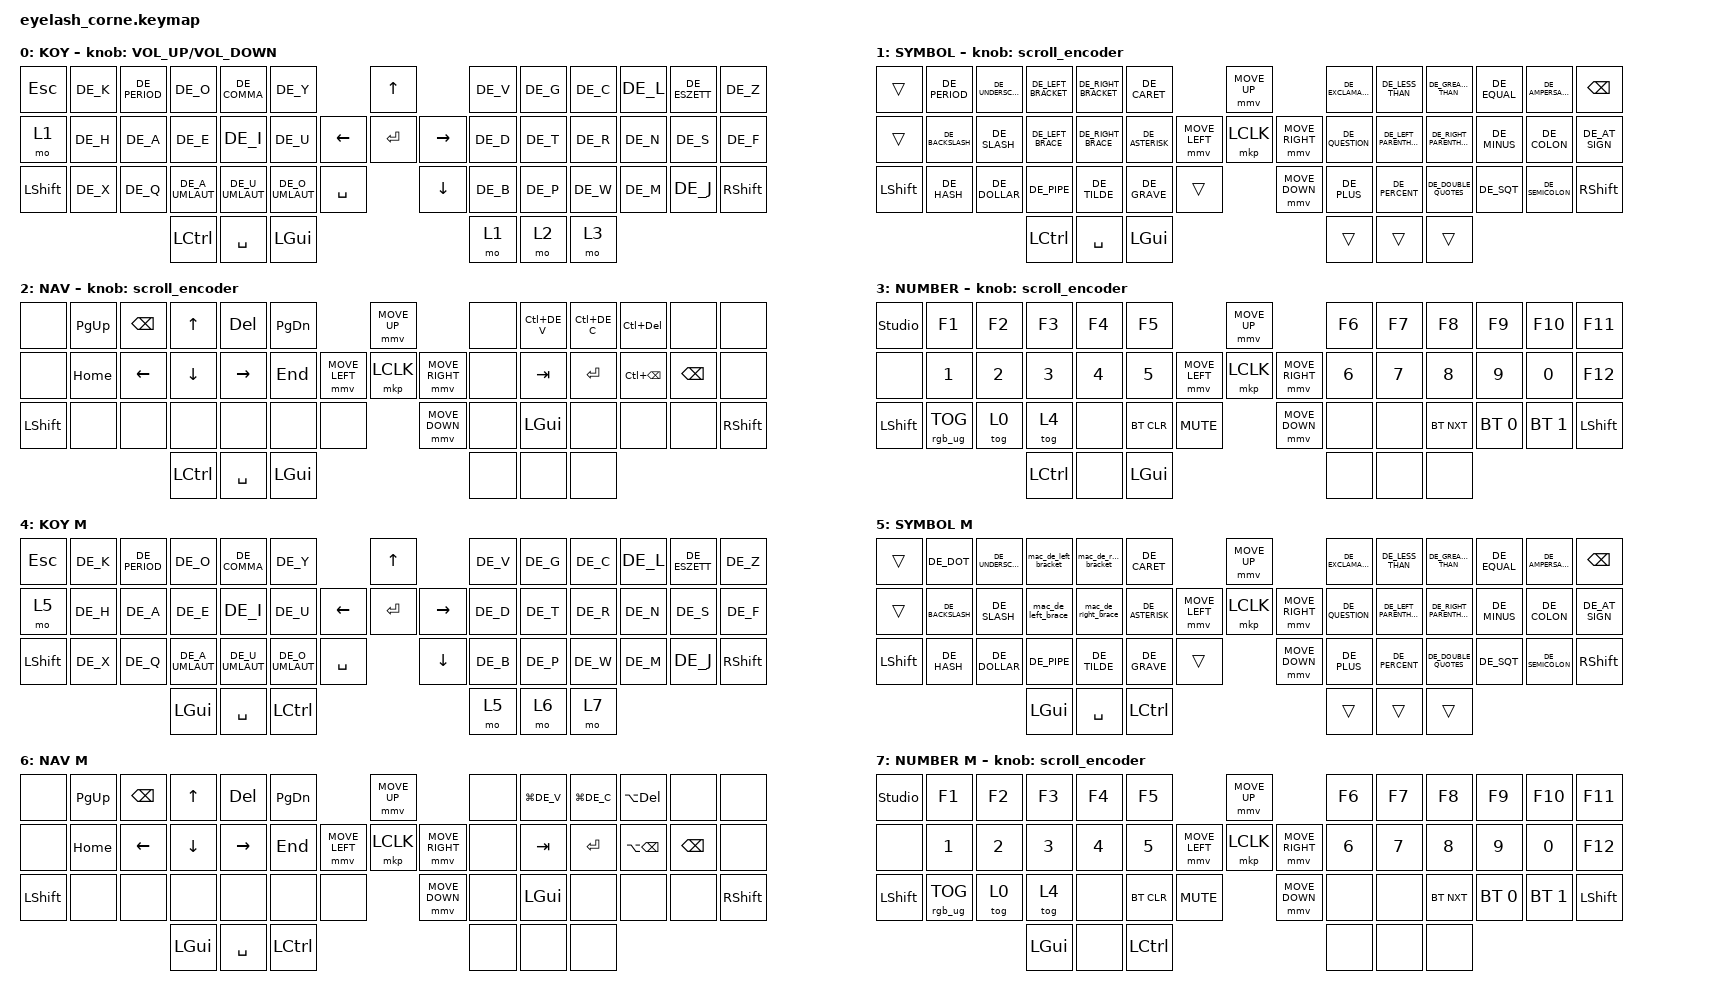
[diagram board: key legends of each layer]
#define ZMK_POINTING_DEFAULT_MOVE_VAL 1200  // 600
#define ZMK_POINTING_DEFAULT_SCRL_VAL 25   // 10

#include <input/processors.dtsi>
#include <zephyr/dt-bindings/input/input-event-codes.h>
#include <behaviors.dtsi>
#include <dt-bindings/zmk/bt.h>
#include <dt-bindings/zmk/keys.h>
#include <dt-bindings/zmk/pointing.h>
#include <dt-bindings/zmk/rgb.h>
#include "keys_de.h"

&mmv_input_listener { input-processors = <&zip_xy_scaler 2 1>; };

&msc_input_listener { input-processors = <&zip_scroll_scaler 2 1>; };

&msc {
    acceleration-exponent = <1>;      // 0
    time-to-max-speed-ms = <100>;       // 300
    delay-ms = <0>;                   // 0
};

&mmv {
    time-to-max-speed-ms = <500>;
    acceleration-exponent = <1>;
    trigger-period-ms = <16>;
};

/ {
    behaviors {
        td0: td0 {
            compatible = "zmk,behavior-tap-dance";
            display-name = "Shift/Caps Lock Tap Dance";
            #binding-cells = <0>;
            bindings = <&kp LEFT_SHIFT>, <&kp CAPS>;
        };
    };

    rgb_encoder: rgb_encoder {
        compatible = "zmk,behavior-sensor-rotate";
        #sensor-binding-cells = <0>;
        bindings = <&rgb_ug RGB_BRI>, <&rgb_ug RGB_BRD>;
    };

    scroll_encoder: scroll_encoder {
        compatible = "zmk,behavior-sensor-rotate";
        #sensor-binding-cells = <0>;
        bindings = <&msc SCRL_DOWN>, <&msc SCRL_UP>;

        tap-ms = <100>;
    };

    macros {
        ctrl_del: ctrl_del {
            compatible = "zmk,behavior-macro";
            #binding-cells = <0>;

            // Assuming you want a single Ctrl+Delete action

            bindings = <&macro_tap>, <&kp LEFT_CONTROL &kp DELETE>;

            label = "CTRL_DEL";
        };

        ctrl_bsp: ctrl_bsp {
            compatible = "zmk,behavior-macro";
            #binding-cells = <0>;
            bindings = <&macro_tap>, <&kp LEFT_CONTROL &kp BACKSPACE>;

            label = "CTRL_BSP";
        };

        ctrl_c: ctrl_c {
            compatible = "zmk,behavior-macro";
            #binding-cells = <0>;
            bindings = <&macro_tap>, <&kp LEFT_CONTROL &kp C>;

            label = "CTRL_C";
        };

        ctrl_v: ctrl_v {
            compatible = "zmk,behavior-macro";
            #binding-cells = <0>;
            bindings = <&macro_tap>, <&kp LEFT_CONTROL &kp V>;

            label = "CTRL_V";
        };

        mac_de_left_bracket: mac_de_left_bracket {
            compatible = "zmk,behavior-macro";
            #binding-cells = <0>;
            bindings
                = <&macro_press &kp RIGHT_ALT &kp N8>
                , <&macro_pause_for_release>
                , <&macro_release &kp N8 &kp RIGHT_ALT>
                ;
        };

        mac_de_right_bracket: mac_de_right_bracket {
            compatible = "zmk,behavior-macro";
            #binding-cells = <0>;
            bindings
                = <&macro_press &kp RIGHT_ALT &kp N9>
                , <&macro_pause_for_release>
                , <&macro_release &kp N9 &kp RIGHT_ALT>
                ;
        };

        mac_de_left_brace: mac_de_left_brace {
            compatible = "zmk,behavior-macro";
            #binding-cells = <0>;
            bindings
                = <&macro_press &kp RIGHT_ALT &kp N7>
                , <&macro_pause_for_release>
                , <&macro_release &kp N7 &kp RIGHT_ALT>
                ;
        };

        mac_de_right_brace: mac_de_right_brace {
            compatible = "zmk,behavior-macro";
            #binding-cells = <0>;
            bindings
                = <&macro_press &kp RIGHT_ALT &kp N0>
                , <&macro_pause_for_release>
                , <&macro_release &kp N0 &kp RIGHT_ALT>
                ;
        };
    };

    keymap {
        compatible = "zmk,keymap";

        default_layer {
            display-name = "KOY";
            bindings = <
&kp ESC         &kp DE_K  &kp DE_PERIOD  &kp DE_O          &kp DE_COMMA     &kp DE_Y                                &kp UP                &kp DE_V  &kp DE_G  &kp DE_C  &kp DE_L  &kp DE_ESZETT  &kp DE_Z
&mo 1           &kp DE_H  &kp DE_A       &kp DE_E          &kp DE_I         &kp DE_U                      &kp LEFT  &kp ENTER  &kp RIGHT  &kp DE_D  &kp DE_T  &kp DE_R  &kp DE_N  &kp DE_S       &kp DE_F
&kp LEFT_SHIFT  &kp DE_X  &kp DE_Q       &kp DE_A_UMLAUT   &kp DE_U_UMLAUT  &kp DE_O_UMLAUT  &kp SPACE              &kp DOWN              &kp DE_B  &kp DE_P  &kp DE_W  &kp DE_M  &kp DE_J       &kp RIGHT_SHIFT
                                         &kp LEFT_CONTROL  &kp SPACE        &kp LEFT_GUI                                                  &mo 1     &mo 2     &mo 3
            >;

            sensor-bindings = <&inc_dec_kp C_VOLUME_UP C_VOLUME_DOWN>;
        };

        raise_layer {
            display-name = "SYMBOL";
            bindings = <
&trans          &kp DE_PERIOD     &kp DE_UNDERSCORE  &kp DE_LEFT_BRACKET  &kp DE_RIGHT_BRACKET  &kp DE_CARET                               &mmv MOVE_UP                     &kp DE_EXCLAMATION  &kp DE_LESS_THAN         &kp DE_GREATER_THAN       &kp DE_EQUAL  &kp DE_AMPERSAND  &kp BSPC
&trans          &kp DE_BACKSLASH  &kp DE_SLASH       &kp DE_LEFT_BRACE    &kp DE_RIGHT_BRACE    &kp DE_ASTERISK            &mmv MOVE_LEFT  &mkp LCLK       &mmv MOVE_RIGHT  &kp DE_QUESTION     &kp DE_LEFT_PARENTHESIS  &kp DE_RIGHT_PARENTHESIS  &kp DE_MINUS  &kp DE_COLON      &kp DE_AT_SIGN
&kp LEFT_SHIFT  &kp DE_HASH       &kp DE_DOLLAR      &kp DE_PIPE          &kp DE_TILDE          &kp DE_GRAVE     &trans                    &mmv MOVE_DOWN                   &kp DE_PLUS         &kp DE_PERCENT           &kp DE_DOUBLE_QUOTES      &kp DE_SQT    &kp DE_SEMICOLON  &kp RIGHT_SHIFT
                                                     &kp LCTRL            &kp SPACE             &kp LEFT_GUI                                                                &trans              &trans                   &trans
            >;

            sensor-bindings = <&scroll_encoder>;
        };

        lower_layer {
            display-name = "NAV";
            bindings = <
&none           &kp PAGE_UP  &kp BSPC  &kp UP            &kp DELETE  &kp PAGE_DOWN                           &mmv MOVE_UP                     &none  &kp LC(DE_V)  &kp LC(DE_C)  &kp LC(DELETE)  &none          &none
&none           &kp HOME     &kp LEFT  &kp DOWN          &kp RIGHT   &kp END                 &mmv MOVE_LEFT  &mkp LCLK       &mmv MOVE_RIGHT  &none  &kp TAB       &kp ENTER     &kp LC(BSPC)    &kp BACKSPACE  &none
&kp LEFT_SHIFT  &none        &none     &none             &none       &none          &none                    &mmv MOVE_DOWN                   &none  &kp LEFT_GUI  &none         &none           &none          &kp RIGHT_SHIFT
                                       &kp LEFT_CONTROL  &kp SPACE   &kp LEFT_GUI                                                             &none  &none         &none
            >;

            sensor-bindings = <&scroll_encoder>;
        };

        layer_3 {
            display-name = "NUMBER";
            bindings = <
&studio_unlock  &kp F1           &kp F2  &kp F3            &kp F4  &kp F5                                      &mmv MOVE_UP                     &kp F6  &kp F7  &kp F8      &kp F9        &kp F10       &kp F11
&none           &kp N1           &kp N2  &kp N3            &kp N4  &kp N5                      &mmv MOVE_LEFT  &mkp LCLK       &mmv MOVE_RIGHT  &kp N6  &kp N7  &kp N8      &kp N9        &kp N0        &kp F12
&kp LEFT_SHIFT  &rgb_ug RGB_TOG  &tog 0  &tog 4            &none   &bt BT_CLR    &kp C_MUTE                    &mmv MOVE_DOWN                   &none   &none   &bt BT_NXT  &bt BT_SEL 0  &bt BT_SEL 1  &kp LEFT_SHIFT
                                         &kp LEFT_CONTROL  &none   &kp LEFT_GUI                                                                 &none   &none   &none
            >;

            sensor-bindings = <&scroll_encoder>;
        };

        macos_layer {
            display-name = "KOY M";
            bindings = <
&kp ESC         &kp DE_K  &kp DE_PERIOD  &kp DE_O         &kp DE_COMMA     &kp DE_Y                                 &kp UP                &kp DE_V  &kp DE_G  &kp DE_C  &kp DE_L  &kp DE_ESZETT  &kp DE_Z
&mo 5           &kp DE_H  &kp DE_A       &kp DE_E         &kp DE_I         &kp DE_U                       &kp LEFT  &kp ENTER  &kp RIGHT  &kp DE_D  &kp DE_T  &kp DE_R  &kp DE_N  &kp DE_S       &kp DE_F
&kp LEFT_SHIFT  &kp DE_X  &kp DE_Q       &kp DE_A_UMLAUT  &kp DE_U_UMLAUT  &kp DE_O_UMLAUT   &kp SPACE              &kp DOWN              &kp DE_B  &kp DE_P  &kp DE_W  &kp DE_M  &kp DE_J       &kp RIGHT_SHIFT
                                         &kp LEFT_GUI     &kp SPACE        &kp LEFT_CONTROL                                               &mo 5     &mo 6     &mo 7
            >;
        };

        macos_symbol {
            display-name = "SYMBOL M";
            bindings = <
&trans          &kp DE_DOT        &kp DE_UNDERSCORE  &mac_de_left_bracket  &mac_de_right_bracket  &kp DE_CARET                                &mmv MOVE_UP                     &kp DE_EXCLAMATION  &kp DE_LESS_THAN         &kp DE_GREATER_THAN       &kp DE_EQUAL  &kp DE_AMPERSAND  &kp BSPC
&trans          &kp DE_BACKSLASH  &kp DE_SLASH       &mac_de_left_brace    &mac_de_right_brace    &kp DE_ASTERISK             &mmv MOVE_LEFT  &mkp LCLK       &mmv MOVE_RIGHT  &kp DE_QUESTION     &kp DE_LEFT_PARENTHESIS  &kp DE_RIGHT_PARENTHESIS  &kp DE_MINUS  &kp DE_COLON      &kp DE_AT_SIGN
&kp LEFT_SHIFT  &kp DE_HASH       &kp DE_DOLLAR      &kp DE_PIPE          &kp DE_TILDE          &kp DE_GRAVE      &trans                    &mmv MOVE_DOWN                   &kp DE_PLUS         &kp DE_PERCENT           &kp DE_DOUBLE_QUOTES      &kp DE_SQT    &kp DE_SEMICOLON  &kp RIGHT_SHIFT
                                                     &kp LEFT_GUI         &kp SPACE             &kp LEFT_CONTROL                                                             &trans              &trans                   &trans
            >;
        };

        macos_nav {
            display-name = "NAV M";
            bindings = <
&none           &kp PAGE_UP  &kp BSPC  &kp UP        &kp DELETE  &kp PAGE_DOWN                              &mmv MOVE_UP                     &none  &kp LG(DE_V)  &kp LG(DE_C)  &kp LA(DELETE)  &none          &none
&none           &kp HOME     &kp LEFT  &kp DOWN      &kp RIGHT   &kp END                    &mmv MOVE_LEFT  &mkp LCLK       &mmv MOVE_RIGHT  &none  &kp TAB       &kp ENTER     &kp LA(BSPC)    &kp BACKSPACE  &none
&kp LEFT_SHIFT  &none        &none     &none         &none       &none             &none                    &mmv MOVE_DOWN                   &none  &kp LEFT_GUI  &none         &none           &none          &kp RIGHT_SHIFT
                                       &kp LEFT_GUI  &kp SPACE   &kp LEFT_CONTROL                                                            &none  &none         &none
            >;
        };

        macos_num {
            display-name = "NUMBER M";
            bindings = <
&studio_unlock  &kp F1           &kp F2  &kp F3        &kp F4  &kp F5                                          &mmv MOVE_UP                     &kp F6  &kp F7  &kp F8      &kp F9        &kp F10       &kp F11
&none           &kp N1           &kp N2  &kp N3        &kp N4  &kp N5                          &mmv MOVE_LEFT  &mkp LCLK       &mmv MOVE_RIGHT  &kp N6  &kp N7  &kp N8      &kp N9        &kp N0        &kp F12
&kp LEFT_SHIFT  &rgb_ug RGB_TOG  &tog 0  &tog 4        &none   &bt BT_CLR        &kp C_MUTE                    &mmv MOVE_DOWN                   &none   &none   &bt BT_NXT  &bt BT_SEL 0  &bt BT_SEL 1  &kp LEFT_SHIFT
                                         &kp LEFT_GUI  &none   &kp LEFT_CONTROL                                                                 &none   &none   &none
            >;

            sensor-bindings = <&scroll_encoder>;
        };
    };
};
